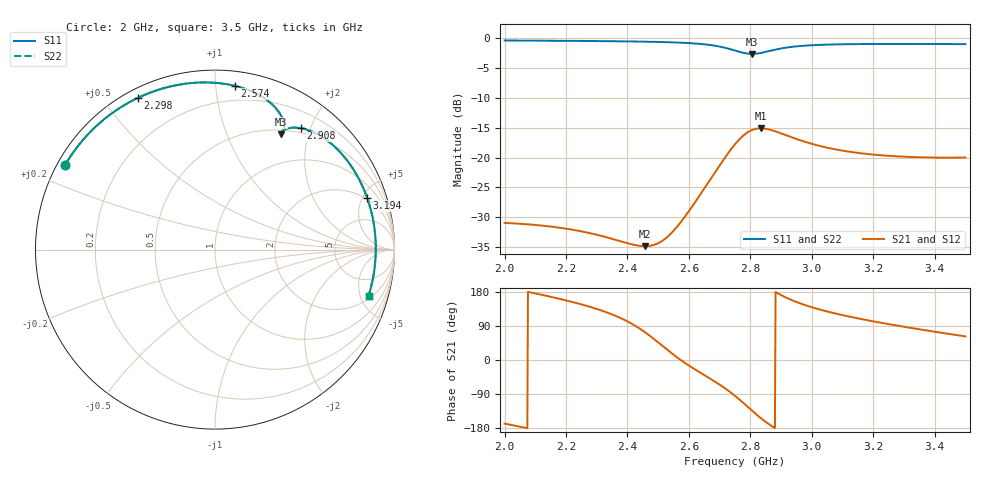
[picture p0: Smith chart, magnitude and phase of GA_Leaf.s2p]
! Touchstone file exported from HFSS 2022.1.0
!  File:  C:/Users/Hamza Safder/Downloads/PSF-V2 with holder (4).aedt
!  Generated:  1:58:45 AM  Sep 30, 2023
!  Design:  HFSSDesign1
!  Project:  PSF-V2 with holder (4)
!  Setup:  Setup1
!  Solution:  Sweep
! Variables:
!  WS = 5mm
!  ax = 15mm
!  az = 3.18mm
!  azd = 3mm
!  bx = 13mm
!  bx2 = 12.5mm
!  bx3 = 3.16mm
!  cin = 27.8mm
!  gap = 0.7mm
!  mid = 3mm
!  shift = 21.24mm
!  strip_1L = 18.62mm
!  substrate_L = 80mm
!  substrate_W = 70mm
!  t = 3mm
!  w50 = 9.18mm
!  wt = 1mm
!  xs = 0.8mm
!  zzz = 8mm
# GHz S MA R 50.000000
! Terminal data exported
! Port[1] = ground_T1
! Port[2] = ground_T2
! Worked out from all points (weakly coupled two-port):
!   751 points, 2 GHz to 3.5 GHz, reference 50 ohm
!   highest |S21| = -15.10 dB at 2.834 GHz (marker M1); lowest = -34.9 dB at 2.458 GHz (marker M2)
!   lowest |S11| = -2.6 dB at 2.806 GHz (marker M3), VSWR 6.69, Z = 27.8 + j79 ohm
!   |S11| at or under -10 dB: nowhere
!   |S22| runs from -2.6 to -0.4 dB; largest |S21 - S12| = 3e-15
!   S11 on the Smith chart (normalised r, x): 2 GHz: 0.02, +0.26; 2.298 GHz: 0.04, +0.61; 2.574 GHz: 0.10, +1.13; 2.908 GHz: 0.43, +1.85; 3.194 GHz: 1.87, +5.44; 3.5 GHz: 2.30, -5.89
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2  0.9592 150.6  0.02832 -168.0  0.02832 -168.0  0.9589 150.6
! Gamma 0 0 0 0
! Port Impedance 50 0 50 0
2.12  0.9556 137.3  0.02691 172.2  0.02691 172.2  0.9553 137.3
2.25  0.9507 122.5  0.02405 146.8  0.02405 146.8  0.9503 122.5
2.298  0.9484 116.9  0.02259 135.3  0.02259 135.3  0.948 116.9
2.458  0.9372 97.8  0.01807 72.7  0.01807 72.7  0.9368 97.8
2.5  0.9323 92.5  0.01914 46.4  0.01914 46.4  0.9319 92.6
2.534  0.9272 88.2  0.0221 24.0  0.0221 24.0  0.9268 88.3
2.574  0.9191 83.0  0.02887 -0.5  0.02887 -0.5  0.9186 83.1
2.632  0.8997 75.2  0.04686 -31.0  0.04686 -31.0  0.8992 75.3
2.686  0.8654 67.8  0.07588 -57.7  0.07588 -57.7  0.8651 67.9
2.75  0.7897 60.7  0.1293 -94.6  0.1293 -94.6  0.7897 60.9
2.78  0.7526 59.8  0.1552 -115.3  0.1552 -115.3  0.753 59.9
2.806  0.74 60.2  0.1705 -134.1  0.1705 -134.1  0.7406 60.3
2.834  0.7537 60.5  0.1758 -153.4  0.1758 -153.4  0.7544 60.6
2.866  0.7874 59.0  0.1706 -172.4  0.1706 -172.4  0.788 59.0
2.908  0.8286 54.7  0.1568 168.0  0.1568 168.0  0.829 54.8
3  0.8748 43.0  0.1303 139.3  0.1303 139.3  0.8749 43.0
3.096  0.8907 30.7  0.1147 119.1  0.1147 119.1  0.8905 30.8
3.194  0.8957 18.7  0.1062 102.9  0.1062 102.9  0.8953 18.8
3.25  0.8964 12.0  0.1034 94.6  0.1034 94.6  0.896 12.1
3.372  0.8958 -2.3  0.1003 78.2  0.1003 78.2  0.8953 -2.2
3.5  0.8936 -16.8  0.1001 62.3  0.1001 62.3  0.8931 -16.7
